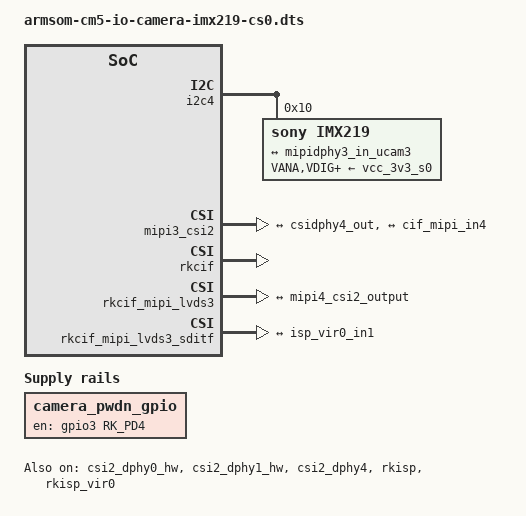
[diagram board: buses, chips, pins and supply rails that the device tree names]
/dts-v1/;
/plugin/;

#include <dt-bindings/clock/rockchip,rk3576-cru.h>
#include <dt-bindings/power/rk3576-power.h>
#include <dt-bindings/gpio/gpio.h>
#include <dt-bindings/pinctrl/rockchip.h>
/ {
	fragment@0 {
		target-path = "/";
		__overlay__ {
			camera_pwdn_gpio: camera-pwdn-gpio {
				status = "okay";
				compatible = "regulator-fixed";
				regulator-name = "camera_pwdn_gpio";
				regulator-always-on;
				regulator-boot-on;
				enable-active-high;
				gpio = <&gpio3 RK_PD4 GPIO_ACTIVE_HIGH>;
				pinctrl-names = "default";
				pinctrl-0 = <&cam_pwdn_gpio>;
			};
		};
	};

	fragment@1 {
		target = <&i2c4>;
		__overlay__ {
			status = "okay";
			pinctrl-names = "default";
			pinctrl-0 = <&i2c4m3_xfer>;
			imx219: imx219@10 {
				status = "okay";
				compatible = "sony,imx219";
				reg = <0x10>;
				clocks = <&cru CLK_MIPI_CAMERAOUT_M1>;
				clock-names = "xvclk";
				pinctrl-names = "rockchip,camera_default";
				pinctrl-0 = <&cam_clk1m1_clk1>;
				VANA-supply = <&vcc_3v3_s0>;   /* 2.8v */
				VDIG-supply = <&vcc_3v3_s0>;   /* 1.8v */
				VDDL-supply = <&vcc_3v3_s0>;   /* 1.2v */
				rockchip,camera-module-index = <1>;
				rockchip,camera-module-facing = "back";
				rockchip,camera-module-name = "ZC-OV13850R2A-V1";
				rockchip,camera-module-lens-name = "Largan-50064B31";
				port {
					imx219_out: endpoint {
						remote-endpoint = <&mipidphy3_in_ucam3>;
						data-lanes = <1 2>;
						clock-noncontinuous;
						link-frequencies = /bits/ 64 <456000000>;
					};
				};
			};
		};
	};

	fragment@2 {
		target = <&csi2_dphy0_hw>;
		__overlay__ {
			status = "okay";
		};
	};

	fragment@3 {
		target = <&csi2_dphy1_hw>;
		__overlay__ {
			status = "okay";
		};
	};

	fragment@4 {
		target = <&csi2_dphy4>;
		__overlay__ {
			status = "okay";

			ports {
				#address-cells = <1>;
				#size-cells = <0>;

				port@0 {
					reg = <0>;
					#address-cells = <1>;
					#size-cells = <0>;

					mipidphy3_in_ucam3: endpoint@1 {
						reg = <1>;
						remote-endpoint = <&imx219_out>;
						data-lanes = <1 2>;
					};
				};

				port@1 {
					reg = <1>;
					#address-cells = <1>;
					#size-cells = <0>;

					csidphy4_out: endpoint@0 {
						reg = <0>;
						remote-endpoint = <&mipi4_csi2_input>;
					};
				};
			};
		};
	};

	fragment@5 {
		target = <&mipi3_csi2>;
		__overlay__ {
			status = "okay";

			ports {
				#address-cells = <1>;
				#size-cells = <0>;

				port@0 {
					reg = <0>;
					#address-cells = <1>;
					#size-cells = <0>;

					mipi4_csi2_input: endpoint@1 {
						reg = <1>;
						remote-endpoint = <&csidphy4_out>;
					};
				};

				port@1 {
					reg = <1>;
					#address-cells = <1>;
					#size-cells = <0>;

					mipi4_csi2_output: endpoint@0 {
						reg = <0>;
						remote-endpoint = <&cif_mipi_in4>;
					};
				};
			};
		};
	};

	fragment@6 {
		target = <&rkcif>;
		__overlay__ {
			status = "okay";
		};
	};

	fragment@7 {
		target = <&rkcif_mipi_lvds3>;
		__overlay__ {
			status = "okay";

			port {
				cif_mipi_in4: endpoint {
					remote-endpoint = <&mipi4_csi2_output>;
				};
			};
		};
	};

	fragment@8 {
		target = <&rkcif_mipi_lvds3_sditf>;
		__overlay__ {
			status = "okay";

			port {
				mipi_lvds3_sditf: endpoint {
					remote-endpoint = <&isp_vir0_in1>;
				};
			};
		};
	};

	fragment@9 {
		target = <&rkcif_mmu>;
		__overlay__ {
			status = "okay";
		};
	};

	fragment@10 {
		target = <&rkisp>;
		__overlay__ {
			status = "okay";
		};
	};

	fragment@11 {
		target = <&rkisp_mmu>;
		__overlay__ {
			status = "okay";
		};
	};

	fragment@12 {
		target = <&rkisp_vir0>;
		__overlay__ {
			status = "okay";

			port {
				#address-cells = <1>;
				#size-cells = <0>;

				isp_vir0_in1: endpoint@0 {
					reg = <0>;
					remote-endpoint = <&mipi_lvds3_sditf>;
				};
			};
		};
	};

	fragment@13 {
		target = <&pinctrl>;
		__overlay__ {
			camera {
				cam_pwdn_gpio: cam-pwdn-gpio {
					rockchip,pins = <3 RK_PD4 RK_FUNC_GPIO &pcfg_pull_up>;
				};
			};
		};
	};
};
